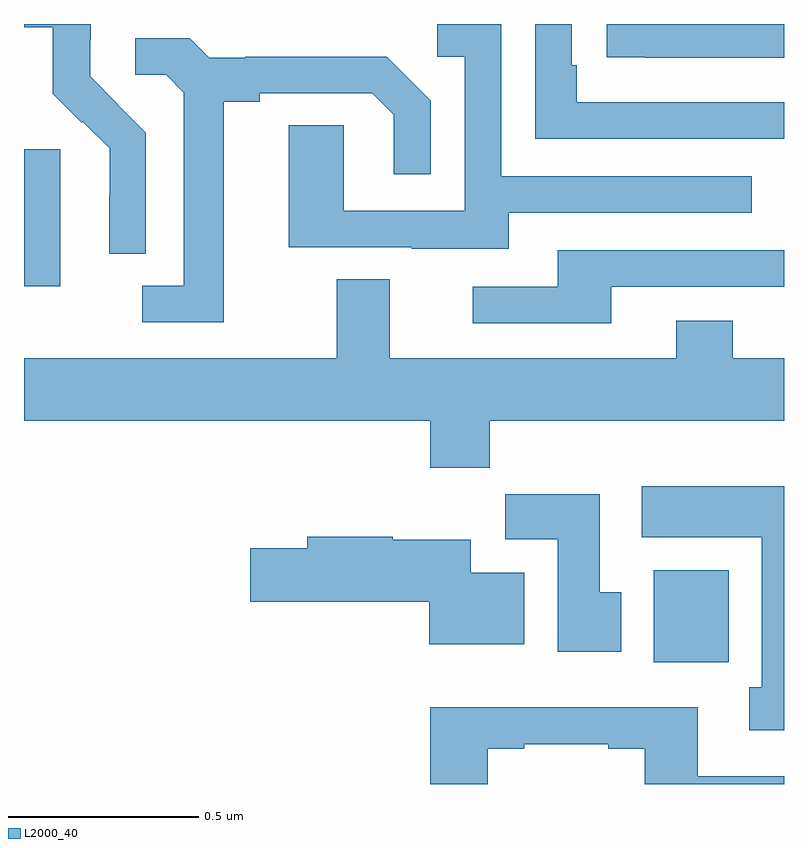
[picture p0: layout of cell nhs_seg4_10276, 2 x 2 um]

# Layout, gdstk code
import gdstk
lib = gdstk.Library(unit=1e-6, precision=1e-09)
def R(c, l, rs):  # rectangles x0, y0, x1, y1
    for r in rs: c.add(gdstk.rectangle(r[:2], r[2:], *l))
def P(c, l, *ps):  # polygons
    for p in ps: c.add(gdstk.Polygon(p, *l))
L2000_40 = (2000, 40)

nhs_seg4_10276 = lib.new_cell('nhs_seg4_10276')
R(nhs_seg4_10276, L2000_40, [(239.657,760.22,239.854,760.462), (238,761.21,238.096,761.571)])
P(nhs_seg4_10276, L2000_40, [(239.275,761.403),(239.915,761.403),(239.915,761.499),(239.256,761.499),(239.256,761.9),(239.088,761.9),(239.088,761.814),(239.16,761.814),(239.16,761.409),(238.842,761.409),(238.842,761.633),(238.697,761.633),(238.697,761.313),(239.021,761.313),(239.021,761.309),(239.275,761.309)],
  [(238.32,761.614),(238.247,761.687),(238.248,761.688),(238.174,761.762),(238.174,761.859),(238.176,761.859),(238.176,761.9),(238,761.9),(238,761.892),(238.075,761.892),(238.075,761.717),(238.152,761.64),(238.155,761.643),(238.226,761.573),(238.226,761.45),(238.224,761.45),(238.224,761.296),(238.32,761.296)],
  [(240,761.694),(239.455,761.694),(239.455,761.791),(239.442,761.791),(239.442,761.9),(239.346,761.9),(239.346,761.598),(240,761.598)],
  [(240,761.9),(239.533,761.9),(239.533,761.812),(239.635,761.812),(239.635,761.811),(240,761.811)],
  [(238.525,761.696),(238.621,761.696),(238.621,761.718),(238.916,761.718),(238.973,761.661),(238.973,761.505),(239.07,761.505),(239.07,761.698),(238.954,761.814),(238.582,761.814),(238.582,761.811),(238.488,761.811),(238.436,761.863),(238.293,761.863),(238.293,761.766),(238.374,761.766),(238.421,761.719),(238.421,761.211),(238.311,761.211),(238.311,761.115),(238.525,761.115)],
  [(239.545,761.208),(240,761.208),(240,761.304),(239.405,761.304),(239.405,761.208),(239.181,761.208),(239.181,761.112),(239.545,761.112)],
  [(239.225,760.856),(240,760.856),(240,761.02),(239.865,761.02),(239.865,761.119),(239.717,761.119),(239.717,761.02),(238.963,761.02),(238.963,761.228),(238.823,761.228),(238.823,761.02),(238,761.02),(238,760.856),(239.069,760.856),(239.069,760.732),(239.225,760.732)],
  [(240,760.684),(239.625,760.684),(239.625,760.55),(239.942,760.55),(239.942,760.154),(239.909,760.154),(239.909,760.041),(240,760.041)],
  [(239.572,760.404),(239.515,760.404),(239.515,760.663),(239.266,760.663),(239.266,760.544),(239.405,760.544),(239.405,760.248),(239.572,760.248)],
  [(239.317,760.456),(239.176,760.456),(239.176,760.543),(238.97,760.543),(238.97,760.551),(238.745,760.551),(238.745,760.521),(238.596,760.521),(238.596,760.379),(239.066,760.379),(239.066,760.268),(239.317,760.268)],
  [(239.221,759.993),(239.317,759.993),(239.317,760.005),(239.537,760.005),(239.537,759.993),(239.633,759.993),(239.633,759.9),(240,759.9),(240,759.921),(239.773,759.921),(239.773,760.102),(239.069,760.102),(239.069,759.9),(239.221,759.9)])

lib.write_gds('nhs_seg4_10276.gds')
